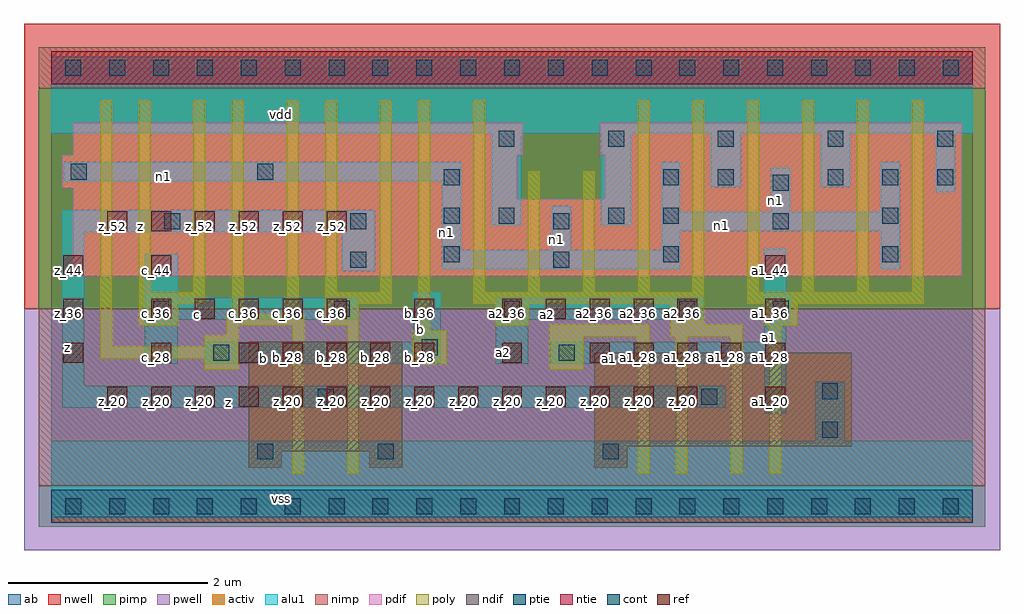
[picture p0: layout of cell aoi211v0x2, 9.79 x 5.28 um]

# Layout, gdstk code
import gdstk
lib = gdstk.Library(unit=1e-6, precision=2.5e-09)
def R(c, l, rs):  # rectangles x0, y0, x1, y1
    for r in rs: c.add(gdstk.rectangle(r[:2], r[2:], *l))
def A(c, l, x, y, w, h, nx, ny, dx, dy):  # array of equal rectangles
    R(c, l, [(x+i*dx, y+j*dy, x+i*dx+w, y+j*dy+h) for i in range(nx) for j in range(ny)])
ndif = (3, 0)
pdif = (4, 0)
ntie = (5, 0)
ptie = (6, 0)
ref = (24, 0)
cont = (25, 0)
pwell = (41, 0)
nwell = (42, 0)
activ = (43, 0)
pimp = (44, 0)
nimp = (45, 0)
poly = (46, 0)
alu1 = (49, 0)
ab = (63, 0)

aoi211v0x2 = lib.new_cell('aoi211v0x2')
R(aoi211v0x2, ndif, [(1.98,0.385,2.31,0.55), (3.19,0.385,3.52,0.55), (5.445,0.385,5.775,0.605), (1.98,0.55,3.52,1.65), (5.445,0.605,8.03,1.54)])
R(aoi211v0x2, pdif, [(0.22,2.31,9.13,3.08), (0.22,3.08,4.675,3.19), (5.555,3.08,9.13,3.52), (0.11,3.19,4.675,3.52), (0.22,3.52,4.73,3.85), (5.5,3.52,9.13,3.85)])
R(aoi211v0x2, ntie, [(0,4.235,9.24,4.565)])
R(aoi211v0x2, ptie, [(0,-0.165,9.24,0.165)])
A(aoi211v0x2, ref, 0.56, 1, 0.2, 0.2, 14, 1, 0.44, 0)
A(aoi211v0x2, ref, 0.12, 1.44, 0.2, 0.2, 3, 1, 0.88, 0)
A(aoi211v0x2, ref, 2.32, 1.44, 0.2, 0.2, 4, 1, 0.44, 0)
A(aoi211v0x2, ref, 5.4, 1.44, 0.2, 0.2, 5, 1, 0.44, 0)
A(aoi211v0x2, ref, 1, 1.88, 0.2, 0.2, 5, 1, 0.44, 0)
A(aoi211v0x2, ref, 4.52, 1.88, 0.2, 0.2, 5, 1, 0.44, 0)
A(aoi211v0x2, ref, 0.56, 2.76, 0.2, 0.2, 6, 1, 0.44, 0)
R(aoi211v0x2, ref, [(7.16,1,7.36,1.2), (4.52,1.44,4.72,1.64), (0.12,1.88,0.32,2.08), (3.64,1.88,3.84,2.08), (7.16,1.88,7.36,2.08), (0.12,2.32,0.32,2.52), (1,2.32,1.2,2.52), (7.16,2.32,7.36,2.52)])
A(aoi211v0x2, cont, 0.14, -0.08, 0.16, 0.16, 21, 2, 0.44, 4.4)
A(aoi211v0x2, cont, 3.935, 2.45, 0.16, 0.16, 3, 1, 2.2, 0)
A(aoi211v0x2, cont, 7.785, 3.22, 0.16, 0.16, 3, 1, 0.55, 0)
A(aoi211v0x2, cont, 4.485, 3.605, 0.16, 0.16, 5, 1, 1.1, 0)
R(aoi211v0x2, cont, [(2.065,0.47,2.225,0.63), (3.275,0.47,3.435,0.63), (5.53,0.47,5.69,0.63), (7.73,0.69,7.89,0.85), (2.67,1.02,2.83,1.18), (6.52,1.02,6.68,1.18), (7.73,1.075,7.89,1.235), (1.625,1.46,1.785,1.62), (5.09,1.46,5.25,1.62), (3.715,1.515,3.875,1.675), (1.02,1.9,1.18,2.06), (2.835,1.9,2.995,2.06), (4.54,1.9,4.7,2.06), (6.3,1.9,6.46,2.06), (7.235,1.9,7.395,2.06), (3,2.395,3.16,2.555), (5.035,2.395,5.195,2.555), (1.13,2.78,1.29,2.94), (3,2.78,3.16,2.94), (5.035,2.78,5.195,2.94), (7.235,2.78,7.395,2.94), (3.935,2.835,4.095,2.995), (4.485,2.835,4.645,2.995), (5.585,2.835,5.745,2.995), (6.135,2.835,6.295,2.995), (8.335,2.835,8.495,2.995), (7.235,3.165,7.395,3.325), (3.935,3.22,4.095,3.38), (6.135,3.22,6.295,3.38), (6.685,3.22,6.845,3.38), (0.195,3.275,0.355,3.435), (2.065,3.275,2.225,3.435)])
R(aoi211v0x2, pwell, [(-0.275,-0.44,9.515,1.98)])
R(aoi211v0x2, nwell, [(-0.275,1.98,9.515,4.84)])
R(aoi211v0x2, activ, [(0,-0.165,9.24,0.165), (1.98,0.385,2.31,0.55), (3.19,0.385,3.52,0.55), (5.445,0.385,5.775,0.605), (1.98,0.55,3.52,1.65), (5.445,0.605,8.03,1.54), (0.22,2.31,9.13,3.08), (0.22,3.08,4.675,3.19), (5.555,3.08,9.13,3.52), (0.11,3.19,4.675,3.52), (0.22,3.52,4.73,3.85), (5.5,3.52,9.13,3.85), (0,4.235,9.24,4.565)])
R(aoi211v0x2, pimp, [(-0.125,-0.205,9.365,0.205), (-0.125,1.98,9.365,4.195)])
R(aoi211v0x2, nimp, [(-0.125,0.205,9.365,1.98), (-0.125,4.195,9.365,4.605)])
A(aoi211v0x2, poly, 5.88, 2.15, 0.12, 1.925, 6, 1, 0.55, 0)
R(aoi211v0x2, poly, [(2.415,0.325,2.535,1.81), (2.965,0.325,3.085,1.81), (5.88,0.325,6,1.7), (6.265,0.325,6.385,1.7), (6.815,0.325,6.935,1.7), (7.2,0.325,7.32,1.81), (1.535,1.37,1.875,1.48), (5,1.37,5.34,1.7), (3.625,1.425,3.965,1.765), (0.49,1.48,1.875,1.6), (0.49,1.6,0.61,4.075), (1.535,1.6,1.875,1.71), (5,1.7,6,1.82), (6.21,1.7,6.935,1.82), (1.755,1.71,1.875,1.81), (3.68,1.765,3.8,4.075), (0.875,1.81,1.27,2.03), (1.755,1.81,2.535,1.93), (2.745,1.81,3.085,2.03), (4.45,1.81,4.79,2.03), (7.145,1.81,7.485,2.03), (6.21,1.82,6.55,2.03), (1.81,1.93,1.93,4.075), (2.36,1.93,2.48,4.075), (0.875,2.03,1.545,2.15), (2.745,2.03,3.415,2.15), (4.23,2.03,6.55,2.15), (6.98,2.03,8.75,2.15), (0.875,2.15,0.995,4.075), (1.425,2.15,1.545,4.075), (2.745,2.15,2.865,4.075), (3.295,2.15,3.415,4.075), (4.23,2.15,4.35,4.075), (4.78,2.15,4.9,3.36), (5.33,2.15,5.45,3.36)])
R(aoi211v0x2, alu1, [(0,-0.11,9.24,0.66), (7.66,0.66,7.96,1.25), (7.15,0.935,7.37,1.43), (0.11,0.99,6.765,1.21), (0.11,1.21,0.33,2.75), (0.935,1.43,1.265,1.87), (1.54,1.43,3.905,1.65), (4.455,1.43,4.785,1.87), (5.005,1.43,7.37,1.65), (3.63,1.65,3.905,2.145), (7.15,1.65,7.37,1.83), (7.15,1.83,7.41,2.13), (0.935,1.87,3.08,2.09), (4.455,1.87,6.545,2.09), (0.935,2.09,1.265,2.53), (7.15,2.13,7.37,2.585), (2.915,2.365,3.245,2.75), (3.92,2.38,6.31,2.57), (8.32,2.38,8.51,2.765), (3.92,2.57,4.11,3.26), (5.02,2.57,5.21,3.01), (6.12,2.57,6.31,2.765), (0.11,2.75,3.245,2.97), (6.12,2.765,8.51,2.955), (4.415,2.82,4.715,3.74), (5.515,2.82,5.815,3.74), (6.12,2.955,6.31,3.45), (7.22,2.955,7.41,3.395), (8.32,2.955,8.51,3.45), (8.87,3.15,9.06,3.74), (6.615,3.205,6.915,3.74), (7.715,3.205,8.015,3.74), (0.125,3.26,4.11,3.45), (0,3.74,9.24,4.51)])
R(aoi211v0x2, ab, [(0,0,9.24,4.4)])
aoi211v0x2.add(gdstk.Label('vss', (2.31,0.0825), layer=49, texttype=0))
aoi211v0x2.add(gdstk.Label('z', (1.7725,1.045), layer=49, texttype=0))
aoi211v0x2.add(gdstk.Label('a1', (5.595,1.485), layer=49, texttype=0))
aoi211v0x2.add(gdstk.Label('a1', (7.205,1.695), layer=49, texttype=0))
aoi211v0x2.add(gdstk.Label('a2', (4.5375,1.54), layer=49, texttype=0))
aoi211v0x2.add(gdstk.Label('a2', (4.9775,1.925), layer=49, texttype=0))
aoi211v0x2.add(gdstk.Label('b', (2.13,1.485), layer=49, texttype=0))
aoi211v0x2.add(gdstk.Label('b', (3.6975,1.7725), layer=49, texttype=0))
aoi211v0x2.add(gdstk.Label('c', (1.47,1.925), layer=49, texttype=0))
aoi211v0x2.add(gdstk.Label('n1', (6.7175,2.8125), layer=49, texttype=0))
aoi211v0x2.add(gdstk.Label('n1', (7.2675,3.065), layer=49, texttype=0))
aoi211v0x2.add(gdstk.Label('n1', (5.0675,2.68), layer=49, texttype=0))
aoi211v0x2.add(gdstk.Label('n1', (3.9675,2.7425), layer=49, texttype=0))
aoi211v0x2.add(gdstk.Label('z', (0.165,1.595), layer=49, texttype=0))
aoi211v0x2.add(gdstk.Label('z', (0.8925,2.805), layer=49, texttype=0))
aoi211v0x2.add(gdstk.Label('n1', (1.12,3.3075), layer=49, texttype=0))
aoi211v0x2.add(gdstk.Label('vdd', (2.31,3.9325), layer=49, texttype=0))
aoi211v0x2.add(gdstk.Label('a2_36', (5.01,1.93), layer=24, texttype=0))
aoi211v0x2.add(gdstk.Label('z_20', (5.01,1.05), layer=24, texttype=0))
aoi211v0x2.add(gdstk.Label('a2_36', (4.57,1.93), layer=24, texttype=0))
aoi211v0x2.add(gdstk.Label('a2_28', (4.57,1.49), layer=24, texttype=0))
aoi211v0x2.add(gdstk.Label('z_20', (4.57,1.05), layer=24, texttype=0))
aoi211v0x2.add(gdstk.Label('z_20', (4.13,1.05), layer=24, texttype=0))
aoi211v0x2.add(gdstk.Label('b_36', (3.69,1.93), layer=24, texttype=0))
aoi211v0x2.add(gdstk.Label('b_28', (3.69,1.49), layer=24, texttype=0))
aoi211v0x2.add(gdstk.Label('z_20', (3.69,1.05), layer=24, texttype=0))
aoi211v0x2.add(gdstk.Label('b_28', (3.25,1.49), layer=24, texttype=0))
aoi211v0x2.add(gdstk.Label('z_20', (3.25,1.05), layer=24, texttype=0))
aoi211v0x2.add(gdstk.Label('z_52', (2.81,2.81), layer=24, texttype=0))
aoi211v0x2.add(gdstk.Label('c_36', (2.81,1.93), layer=24, texttype=0))
aoi211v0x2.add(gdstk.Label('b_28', (2.81,1.49), layer=24, texttype=0))
aoi211v0x2.add(gdstk.Label('z_20', (2.81,1.05), layer=24, texttype=0))
aoi211v0x2.add(gdstk.Label('z_52', (2.37,2.81), layer=24, texttype=0))
aoi211v0x2.add(gdstk.Label('c_36', (2.37,1.93), layer=24, texttype=0))
aoi211v0x2.add(gdstk.Label('b_28', (2.37,1.49), layer=24, texttype=0))
aoi211v0x2.add(gdstk.Label('z_20', (2.37,1.05), layer=24, texttype=0))
aoi211v0x2.add(gdstk.Label('z_44', (0.17,2.37), layer=24, texttype=0))
aoi211v0x2.add(gdstk.Label('z_36', (0.17,1.93), layer=24, texttype=0))
aoi211v0x2.add(gdstk.Label('z_28', (0.17,1.49), layer=24, texttype=0))
aoi211v0x2.add(gdstk.Label('z_52', (1.93,2.81), layer=24, texttype=0))
aoi211v0x2.add(gdstk.Label('c_36', (1.93,1.93), layer=24, texttype=0))
aoi211v0x2.add(gdstk.Label('b_28', (1.93,1.49), layer=24, texttype=0))
aoi211v0x2.add(gdstk.Label('z_20', (1.93,1.05), layer=24, texttype=0))
aoi211v0x2.add(gdstk.Label('z_52', (1.49,2.81), layer=24, texttype=0))
aoi211v0x2.add(gdstk.Label('c_36', (1.49,1.93), layer=24, texttype=0))
aoi211v0x2.add(gdstk.Label('z_20', (1.49,1.05), layer=24, texttype=0))
aoi211v0x2.add(gdstk.Label('z_52', (1.05,2.81), layer=24, texttype=0))
aoi211v0x2.add(gdstk.Label('c_44', (1.05,2.37), layer=24, texttype=0))
aoi211v0x2.add(gdstk.Label('c_36', (1.05,1.93), layer=24, texttype=0))
aoi211v0x2.add(gdstk.Label('c_28', (1.05,1.49), layer=24, texttype=0))
aoi211v0x2.add(gdstk.Label('z_20', (1.05,1.05), layer=24, texttype=0))
aoi211v0x2.add(gdstk.Label('a1_44', (7.21,2.37), layer=24, texttype=0))
aoi211v0x2.add(gdstk.Label('a1_36', (7.21,1.93), layer=24, texttype=0))
aoi211v0x2.add(gdstk.Label('a1_28', (7.21,1.49), layer=24, texttype=0))
aoi211v0x2.add(gdstk.Label('a1_20', (7.21,1.05), layer=24, texttype=0))
aoi211v0x2.add(gdstk.Label('a1_28', (6.77,1.49), layer=24, texttype=0))
aoi211v0x2.add(gdstk.Label('z_52', (0.61,2.81), layer=24, texttype=0))
aoi211v0x2.add(gdstk.Label('z_20', (0.61,1.05), layer=24, texttype=0))
aoi211v0x2.add(gdstk.Label('a2_36', (6.33,1.93), layer=24, texttype=0))
aoi211v0x2.add(gdstk.Label('a1_28', (6.33,1.49), layer=24, texttype=0))
aoi211v0x2.add(gdstk.Label('z_20', (6.33,1.05), layer=24, texttype=0))
aoi211v0x2.add(gdstk.Label('a2_36', (5.89,1.93), layer=24, texttype=0))
aoi211v0x2.add(gdstk.Label('a1_28', (5.89,1.49), layer=24, texttype=0))
aoi211v0x2.add(gdstk.Label('z_20', (5.89,1.05), layer=24, texttype=0))
aoi211v0x2.add(gdstk.Label('a2_36', (5.45,1.93), layer=24, texttype=0))
aoi211v0x2.add(gdstk.Label('a1_28', (5.45,1.49), layer=24, texttype=0))
aoi211v0x2.add(gdstk.Label('z_20', (5.45,1.05), layer=24, texttype=0))

lib.write_gds('aoi211v0x2.gds')
